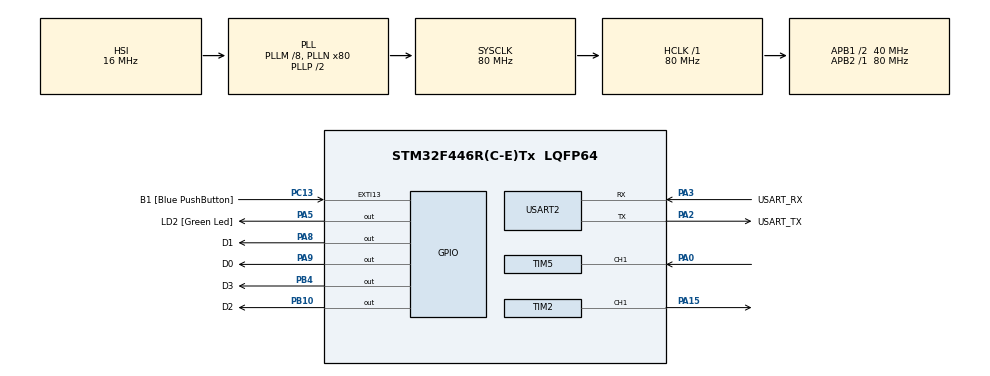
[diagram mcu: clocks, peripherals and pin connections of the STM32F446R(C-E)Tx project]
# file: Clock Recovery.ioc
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Mcu.Family=STM32F4
Mcu.Name=STM32F446R(C-E)Tx
Mcu.Package=LQFP64
NVIC.PriorityGroup=NVIC_PRIORITYGROUP_0
NVIC.TIM2_IRQn=true\:0\:0\:false\:false\:true\:true\:true
NVIC.TIM5_IRQn=true\:0\:0\:false\:false\:true\:true\:true
PA0-WKUP.Signal=S_TIM5_CH1
PA13.GPIO_Label=TMS
PA13.Mode=Serial_Wire
PA13.Signal=SYS_JTMS-SWDIO
PA14.GPIO_Label=TCK
PA14.Mode=Serial_Wire
PA14.Signal=SYS_JTCK-SWCLK
PA15.Signal=S_TIM2_CH1_ETR
PA2.GPIO_Label=USART_TX
PA2.Mode=Asynchronous
PA2.Signal=USART2_TX
PA3.GPIO_Label=USART_RX
PA3.Mode=Asynchronous
PA3.Signal=USART2_RX
PA5.GPIO_Label=LD2 [Green Led]
PA5.Signal=GPIO_Output
PA8.GPIO_Label=D1
PA8.Signal=GPIO_Output
PA9.GPIO_Label=D0
PA9.Signal=GPIO_Output
PB10.GPIO_Label=D2
PB10.Signal=GPIO_Output
PB3.GPIO_Label=SWO
PB3.Signal=SYS_JTDO-SWO
PB4.GPIO_Label=D3
PB4.Signal=GPIO_Output
PC13.GPIO_Label=B1 [Blue PushButton]
PC13.GPIO_ModeDefaultEXTI=GPIO_MODE_IT_FALLING
PC13.Signal=GPXTI13
PC14-OSC32_IN.Mode=LSE-External-Oscillator
PC14-OSC32_IN.Signal=RCC_OSC32_IN
PC15-OSC32_OUT.Mode=LSE-External-Oscillator
PC15-OSC32_OUT.Signal=RCC_OSC32_OUT
PH0-OSC_IN.Mode=HSE-External-Oscillator
PH0-OSC_IN.Signal=RCC_OSC_IN
PH1-OSC_OUT.Mode=HSE-External-Oscillator
PH1-OSC_OUT.Signal=RCC_OSC_OUT
ProjectManager.HeapSize=0x200
ProjectManager.StackSize=0x400
ProjectManager.TargetToolchain=STM32CubeIDE
RCC.48MHZClocksFreq_Value=84000000
RCC.AHBFreq_Value=80000000
RCC.APB1CLKDivider=RCC_HCLK_DIV2
RCC.APB1Freq_Value=40000000
RCC.APB1TimFreq_Value=80000000
RCC.APB2Freq_Value=80000000
RCC.APB2TimFreq_Value=80000000
RCC.CortexFreq_Value=80000000
RCC.FLatency-AdvancedSettings=FLASH_LATENCY_2
RCC.HCLKFreq_Value=80000000
RCC.HSE_VALUE=8000000
RCC.HSI_VALUE=16000000
RCC.PLLM=8
RCC.PLLN=80
RCC.SYSCLKFreq_VALUE=80000000
RCC.SYSCLKSource=RCC_SYSCLKSOURCE_PLLCLK
RCC.USBFreq_Value=80000000
RCC.VCOOutputFreq_Value=160000000
SH.S_TIM2_CH1_ETR.0=TIM2_CH1,Output Compare1 CH1
SH.S_TIM5_CH1.0=TIM5_CH1,Input_Capture1_from_TI1
TIM2.Channel-Output\ Compare1\ CH1=TIM_CHANNEL_1
TIM2.OC1Preload=DISABLE
TIM2.Prescaler=2-1
TIM2.TIM_MasterOutputTrigger=TIM_TRGO_OC1REF
TIM5.Channel-Input_Capture1_from_TI1=TIM_CHANNEL_1
TIM5.ICPolarity_CH1=TIM_INPUTCHANNELPOLARITY_BOTHEDGE
TIM5.Prescaler=2-1
USART2.VirtualMode=VM_ASYNC
VP_TIM2_VS_ClockSourceINT.Mode=Internal
VP_TIM5_VS_ClockSourceINT.Mode=Internal
board=NUCLEO-F446RE

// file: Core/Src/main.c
/* USER CODE BEGIN Header */
/**
  ******************************************************************************
  * @file           : main.c
  * @brief          : Main program body
  ******************************************************************************
  * @attention
  *
  * <h2><center>&copy; Copyright (c) 2020 STMicroelectronics.
  * All rights reserved.</center></h2>
  *
  * This software component is licensed by ST under BSD 3-Clause license,
  * the "License"; You may not use this file except in compliance with the
  * License. You may obtain a copy of the License at:
  *                        opensource.org/licenses/BSD-3-Clause
  *
  ******************************************************************************
  */
/* USER CODE END Header */
#include "main.h"

/* USER CODE BEGIN Includes */
#include "stdbool.h"
/* USER CODE END Includes */

TIM_HandleTypeDef htim2;
TIM_HandleTypeDef htim5;

UART_HandleTypeDef huart2;

void SystemClock_Config(void);
static void MX_GPIO_Init(void);
static void MX_USART2_UART_Init(void);
static void MX_TIM2_Init(void);
static void MX_TIM5_Init(void);
/* USER CODE BEGIN PFP */

#define RISING_EDGE	1
#define FALLING_EDGE	0
// this assumes that the timer is ticking at 40 MHz (80 MHz input with prescaler set to 1)
// these values to be used with prescaler = 1
const uint32_t SYMBOL_PERIOD = 33333;
const uint32_t SYMBOL_MARGIN = 3333;

/* USER CODE END PFP */

/* USER CODE BEGIN 0 */
uint32_t time;
/* USER CODE END 0 */

int main(void)
{

  /* MCU Configuration--------------------------------------------------------*/

  /* Reset of all peripherals, Initializes the Flash interface and the Systick. */
  HAL_Init();

  /* Configure the system clock */
  SystemClock_Config();

  /* Initialize all configured peripherals */
  MX_GPIO_Init();
  MX_USART2_UART_Init();
  MX_TIM2_Init();
  MX_TIM5_Init();
  /* USER CODE BEGIN 2 */

  HAL_TIM_OC_Start_IT(&htim2, TIM_CHANNEL_1);
  HAL_TIM_IC_Start_IT(&htim5, TIM_CHANNEL_1);
  uint32_t captureVal;
  time = HAL_GetTick();
  uint32_t millis_wait = 500;

//  __HAL_TIM_SET_COMPARE(&htim2, TIM_CHANNEL_1,40000000);
  /* USER CODE END 2 */

  /* Infinite loop */
  while (1)
  {

    /* USER CODE BEGIN 3 */

	  if(HAL_GetTick() - time >= millis_wait){
		  HAL_GPIO_TogglePin(GPIOA, GPIO_PIN_0);
		  time = HAL_GetTick();
	  }
  }
  /* USER CODE END 3 */
}

void SystemClock_Config(void)
{
  RCC_OscInitTypeDef RCC_OscInitStruct = {0};
  RCC_ClkInitTypeDef RCC_ClkInitStruct = {0};

  /** Configure the main internal regulator output voltage
  */
  __HAL_RCC_PWR_CLK_ENABLE();
  __HAL_PWR_VOLTAGESCALING_CONFIG(PWR_REGULATOR_VOLTAGE_SCALE3);
  /** Initializes the RCC Oscillators according to the specified parameters
  * in the RCC_OscInitTypeDef structure.
  */
  RCC_OscInitStruct.OscillatorType = RCC_OSCILLATORTYPE_HSI;
  RCC_OscInitStruct.HSIState = RCC_HSI_ON;
  RCC_OscInitStruct.HSICalibrationValue = RCC_HSICALIBRATION_DEFAULT;
  RCC_OscInitStruct.PLL.PLLState = RCC_PLL_ON;
  RCC_OscInitStruct.PLL.PLLSource = RCC_PLLSOURCE_HSI;
  RCC_OscInitStruct.PLL.PLLM = 8;
  RCC_OscInitStruct.PLL.PLLN = 80;
  RCC_OscInitStruct.PLL.PLLP = RCC_PLLP_DIV2;
  RCC_OscInitStruct.PLL.PLLQ = 2;
  RCC_OscInitStruct.PLL.PLLR = 2;
  if (HAL_RCC_OscConfig(&RCC_OscInitStruct) != HAL_OK)
  {
    Error_Handler();
  }
  /** Initializes the CPU, AHB and APB buses clocks
  */
  RCC_ClkInitStruct.ClockType = RCC_CLOCKTYPE_HCLK|RCC_CLOCKTYPE_SYSCLK
                              |RCC_CLOCKTYPE_PCLK1|RCC_CLOCKTYPE_PCLK2;
  RCC_ClkInitStruct.SYSCLKSource = RCC_SYSCLKSOURCE_PLLCLK;
  RCC_ClkInitStruct.AHBCLKDivider = RCC_SYSCLK_DIV1;
  RCC_ClkInitStruct.APB1CLKDivider = RCC_HCLK_DIV2;
  RCC_ClkInitStruct.APB2CLKDivider = RCC_HCLK_DIV1;

  if (HAL_RCC_ClockConfig(&RCC_ClkInitStruct, FLASH_LATENCY_2) != HAL_OK)
  {
    Error_Handler();
  }
}

static void MX_TIM2_Init(void)
{

  TIM_ClockConfigTypeDef sClockSourceConfig = {0};
  TIM_MasterConfigTypeDef sMasterConfig = {0};
  TIM_OC_InitTypeDef sConfigOC = {0};

  htim2.Instance = TIM2;
  htim2.Init.Prescaler = 2-1;
  htim2.Init.CounterMode = TIM_COUNTERMODE_UP;
  htim2.Init.Period = 4294967295;
  htim2.Init.ClockDivision = TIM_CLOCKDIVISION_DIV1;
  htim2.Init.AutoReloadPreload = TIM_AUTORELOAD_PRELOAD_DISABLE;
  if (HAL_TIM_Base_Init(&htim2) != HAL_OK)
  {
    Error_Handler();
  }
  sClockSourceConfig.ClockSource = TIM_CLOCKSOURCE_INTERNAL;
  if (HAL_TIM_ConfigClockSource(&htim2, &sClockSourceConfig) != HAL_OK)
  {
    Error_Handler();
  }
  if (HAL_TIM_OC_Init(&htim2) != HAL_OK)
  {
    Error_Handler();
  }
  sMasterConfig.MasterOutputTrigger = TIM_TRGO_OC1REF;
  sMasterConfig.MasterSlaveMode = TIM_MASTERSLAVEMODE_DISABLE;
  if (HAL_TIMEx_MasterConfigSynchronization(&htim2, &sMasterConfig) != HAL_OK)
  {
    Error_Handler();
  }
  sConfigOC.OCMode = TIM_OCMODE_TIMING;
  sConfigOC.Pulse = 0;
  sConfigOC.OCPolarity = TIM_OCPOLARITY_HIGH;
  sConfigOC.OCFastMode = TIM_OCFAST_DISABLE;
  if (HAL_TIM_OC_ConfigChannel(&htim2, &sConfigOC, TIM_CHANNEL_1) != HAL_OK)
  {
    Error_Handler();
  }
  HAL_TIM_MspPostInit(&htim2);

}

static void MX_TIM5_Init(void)
{

  TIM_ClockConfigTypeDef sClockSourceConfig = {0};
  TIM_MasterConfigTypeDef sMasterConfig = {0};
  TIM_IC_InitTypeDef sConfigIC = {0};

  htim5.Instance = TIM5;
  htim5.Init.Prescaler = 2-1;
  htim5.Init.CounterMode = TIM_COUNTERMODE_UP;
  htim5.Init.Period = 4294967295;
  htim5.Init.ClockDivision = TIM_CLOCKDIVISION_DIV1;
  htim5.Init.AutoReloadPreload = TIM_AUTORELOAD_PRELOAD_DISABLE;
  if (HAL_TIM_Base_Init(&htim5) != HAL_OK)
  {
    Error_Handler();
  }
  sClockSourceConfig.ClockSource = TIM_CLOCKSOURCE_INTERNAL;
  if (HAL_TIM_ConfigClockSource(&htim5, &sClockSourceConfig) != HAL_OK)
  {
    Error_Handler();
  }
  if (HAL_TIM_IC_Init(&htim5) != HAL_OK)
  {
    Error_Handler();
  }
  sMasterConfig.MasterOutputTrigger = TIM_TRGO_RESET;
  sMasterConfig.MasterSlaveMode = TIM_MASTERSLAVEMODE_DISABLE;
  if (HAL_TIMEx_MasterConfigSynchronization(&htim5, &sMasterConfig) != HAL_OK)
  {
    Error_Handler();
  }
  sConfigIC.ICPolarity = TIM_INPUTCHANNELPOLARITY_BOTHEDGE;
  sConfigIC.ICSelection = TIM_ICSELECTION_DIRECTTI;
  sConfigIC.ICPrescaler = TIM_ICPSC_DIV1;
  sConfigIC.ICFilter = 0;
  if (HAL_TIM_IC_ConfigChannel(&htim5, &sConfigIC, TIM_CHANNEL_1) != HAL_OK)
  {
    Error_Handler();
  }

}

static void MX_USART2_UART_Init(void)
{

  huart2.Instance = USART2;
  huart2.Init.BaudRate = 115200;
  huart2.Init.WordLength = UART_WORDLENGTH_8B;
  huart2.Init.StopBits = UART_STOPBITS_1;
  huart2.Init.Parity = UART_PARITY_NONE;
  huart2.Init.Mode = UART_MODE_TX_RX;
  huart2.Init.HwFlowCtl = UART_HWCONTROL_NONE;
  huart2.Init.OverSampling = UART_OVERSAMPLING_16;
  if (HAL_UART_Init(&huart2) != HAL_OK)
  {
    Error_Handler();
  }

}

static void MX_GPIO_Init(void)
{
  GPIO_InitTypeDef GPIO_InitStruct = {0};

  /* GPIO Ports Clock Enable */
  __HAL_RCC_GPIOC_CLK_ENABLE();
  __HAL_RCC_GPIOH_CLK_ENABLE();
  __HAL_RCC_GPIOA_CLK_ENABLE();
  __HAL_RCC_GPIOB_CLK_ENABLE();

  /*Configure GPIO pin Output Level */
  HAL_GPIO_WritePin(GPIOA, LD2_Pin|D1_Pin|D0_Pin, GPIO_PIN_RESET);

  /*Configure GPIO pin Output Level */
  HAL_GPIO_WritePin(GPIOB, D2_Pin|D3_Pin, GPIO_PIN_RESET);

  /*Configure GPIO pin : B1_Pin */
  GPIO_InitStruct.Pin = B1_Pin;
  GPIO_InitStruct.Mode = GPIO_MODE_IT_FALLING;
  GPIO_InitStruct.Pull = GPIO_NOPULL;
  HAL_GPIO_Init(B1_GPIO_Port, &GPIO_InitStruct);

  /*Configure GPIO pins : LD2_Pin D1_Pin D0_Pin */
  GPIO_InitStruct.Pin = LD2_Pin|D1_Pin|D0_Pin;
  GPIO_InitStruct.Mode = GPIO_MODE_OUTPUT_PP;
  GPIO_InitStruct.Pull = GPIO_NOPULL;
  GPIO_InitStruct.Speed = GPIO_SPEED_FREQ_LOW;
  HAL_GPIO_Init(GPIOA, &GPIO_InitStruct);

  /*Configure GPIO pins : D2_Pin D3_Pin */
  GPIO_InitStruct.Pin = D2_Pin|D3_Pin;
  GPIO_InitStruct.Mode = GPIO_MODE_OUTPUT_PP;
  GPIO_InitStruct.Pull = GPIO_NOPULL;
  GPIO_InitStruct.Speed = GPIO_SPEED_FREQ_LOW;
  HAL_GPIO_Init(GPIOB, &GPIO_InitStruct);

}

/* USER CODE BEGIN 4 */

// this function is automatically called whenever the input capture interrupt hits

#define samp_per_bit 		1	//Will take the digital reading multiple times per bit length
#define no_clk_max_cnt		32	//How many bit lengths can occur without disabling clock sync
#define bit_sample_period 	SYMBOL_PERIOD / samp_per_bit

uint8_t captured_bits_count = 0;	//How many captured bits since last clk sync
bool clk_sync = false;			//Are we synced with clock

bool freq_pin_state_curr = false;
bool freq_pin_state_last = false;

int IC_count = 0;
void HAL_TIM_IC_CaptureCallback(TIM_HandleTypeDef *htim)
{
	static uint32_t rising_capture = 0;		// stores the timer tick value of the most recent rising edge
	static uint32_t falling_capture = 0;	// stores the timer tick value of the most recent falling edge
	static uint32_t capture_difference = 0;
	static bool rise_captured = false;		// these are used to ensure that we aren't trying to compute the difference
	static bool fall_captured = false;		// before we have captured both a rising and falling edge
	static bool signal_edge = RISING_EDGE;	// so we know what edge we are looking for (really, the opposite of the edge that was captured last

	uint32_t this_capture = 0;		// simply stores either the rising or falling capture, based on which state we are in (avoids duplicate code)

	//Make sure this is the right timer and channel
	if (htim->Instance == TIM5 && htim->Channel == HAL_TIM_ACTIVE_CHANNEL_1)
	{
		IC_count++;
		//Grap pin state for OC timer
		freq_pin_state_curr = signal_edge;

		//Rising Edge
		if (signal_edge)
		{
			rising_capture = HAL_TIM_ReadCapturedValue(&htim5, TIM_CHANNEL_1); //Time-stamp interrupt
			signal_edge = FALLING_EDGE;		// look for falling edge on next capture
			rise_captured = true;

			if (rise_captured && fall_captured)
			{
				capture_difference = rising_capture - falling_capture;		// calculate difference
				this_capture = rising_capture;		// set current sample to rising edge
			}
		}

		//Falling edge
		else
		{
			falling_capture = HAL_TIM_ReadCapturedValue(&htim5, TIM_CHANNEL_1);		//Time-stamp interrupt
			fall_captured = true;
			signal_edge = RISING_EDGE;		// look for rising edge on next capture

			if (rise_captured && fall_captured)
			{
				capture_difference = falling_capture - rising_capture;		// calculate difference
				this_capture = falling_capture;
			}
		}

		//Have now captured the transition period
		//Can use this to align sampling clock
		if (rise_captured && fall_captured)
		{
			//Check if the transition was a valid transition period to use
			if(SYMBOL_PERIOD-SYMBOL_MARGIN < capture_difference && capture_difference < SYMBOL_PERIOD+SYMBOL_MARGIN){

				//Predict clock
				uint32_t next_sampl;

				if(!clk_sync){
					next_sampl = this_capture + SYMBOL_PERIOD;
					__HAL_TIM_SET_COMPARE(&htim2, TIM_CHANNEL_1, next_sampl);
				}
				else {
					next_sampl = this_capture + bit_sample_period;
					__HAL_TIM_SET_COMPARE(&htim2, TIM_CHANNEL_1, next_sampl);
				}
				//Reset roll-over value
				captured_bits_count = 0;

				//Have now synced with clock
				clk_sync = true;
			}
		}
	}

	return;
}

int OC_count = 0;
bool hold_state,NRZI;
// this function is called automatically whenever the output compare interrupt hits
void HAL_TIM_OC_DelayElapsedCallback(TIM_HandleTypeDef *htim)
{
	if (htim->Instance == TIM2 && htim->Channel == HAL_TIM_ACTIVE_CHANNEL_1)
	{
		OC_count++;
		freq_pin_state_last = hold_state;

		//Check if this is valid data
		if(clk_sync){
			uint32_t this_capture = __HAL_TIM_GET_COMPARE(&htim2, TIM_CHANNEL_1);
			uint32_t next_sampl = this_capture + bit_sample_period;
			NRZI = (freq_pin_state_curr==freq_pin_state_last) ? 1 : 0;

			HAL_GPIO_TogglePin(GPIOA,D0_Pin);//Interpreted clock

			HAL_GPIO_WritePin(GPIOA,D1_Pin,freq_pin_state_curr);
			HAL_GPIO_WritePin(GPIOB,D2_Pin,freq_pin_state_last);
			HAL_GPIO_WritePin(GPIOB,D3_Pin,NRZI);

			__HAL_TIM_SET_COMPARE(&htim2, TIM_CHANNEL_1,next_sampl); // if we have not received a transition to the input capture module, we want to refresh the output compare module with the last known bit period
		}
		//Clock not syncd
		else
		{
			//Turn off OC until syncd
			__HAL_TIM_SET_COMPARE(&htim2, TIM_CHANNEL_1,0);
		}

		//Inc number of bits since last clock sync
		captured_bits_count++;
		if(captured_bits_count >= samp_per_bit * no_clk_max_cnt){
			clk_sync = false;	//Clock is no longer sync
		}

		hold_state = freq_pin_state_curr;
	}

	return;
}

/* USER CODE END 4 */

void Error_Handler(void)
{
}

/************************ (C) COPYRIGHT STMicroelectronics *****END OF FILE****/
